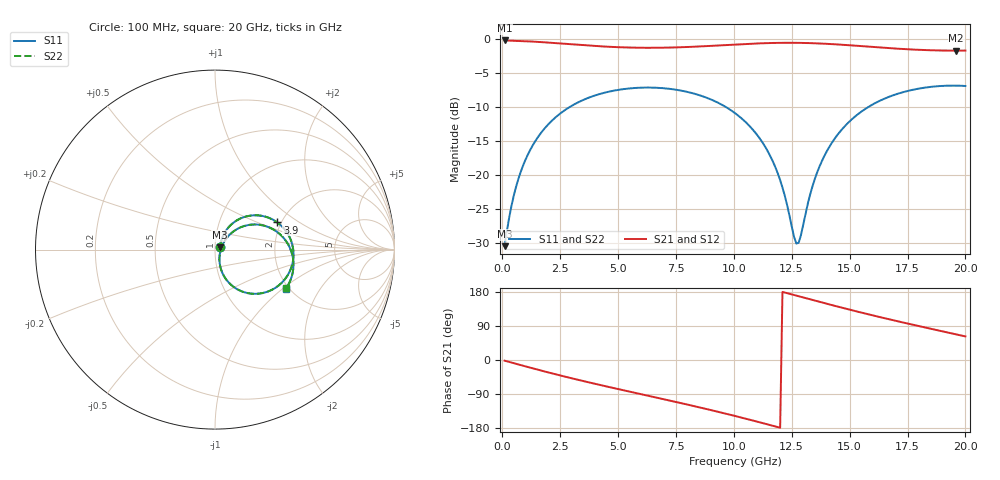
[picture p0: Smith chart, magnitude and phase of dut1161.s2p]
! Touchstone file exported from HFSS 2026.1.0
!  File:  C:/ffzhzh/LocalFiles/Ansys_Project_Files/temp_train_TSV_RDL_1161_1783312303_38704.aedt
!  Generated:  12:54:01 PM Jul  6, 2026
!  Design:  TSV_RDL
!  Project:  temp_train_TSV_RDL_1161_1783312303_38704
! Variables:
!  h_bsmrdl = 5.66um
!  h_ox = 20um
!  h_rdl = 5um
!  h_sub = 90.69um
!  h_tmrdl = 5.98um
!  h_tsv = 90.69um
!  h_via = 3um
!  l_bsmrdl = 669.54um
!  l_sub = 4921.56um
!  l_tmrdl = 595.85um
!  m_sub = 200um
!  pitch = 38.79um
!  r_tsv = 2.28um
!  s_tmrdl = 10um
!  w_bsmrdl = 15.52um
!  w_sub = 500um
!  w_tmrdl = 27.66um
!  x_tsv_center1 = 609.68um
!  x_tsv_center2 = 1294.74um
!  x_tsv_center3 = 1918.25um
!  x_tsv_center4 = 2603.31um
!  x_tsv_center5 = 3226.82um
!  x_tsv_center6 = 3911.88um
# GHz S MA R 50.000000
! Terminal data exported
! Port[1] = TM_RDL1_1_T1
! Port[2] = TM_RDL5_1_T1
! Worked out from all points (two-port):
!   200 points, 100 MHz to 20 GHz, reference 50 ohm
!   highest |S21| = -0.23 dB at 100 MHz (marker M1); lowest = -1.7 dB at 19.6 GHz (marker M2)
!   |S21| within 3 dB of the highest: start of sweep to end of sweep
!   lowest |S11| = -30.4 dB at 100 MHz (marker M3), VSWR 1.06, Z = 52.7 + j1.42 ohm
!   |S11| at or under -10 dB: start of sweep to 2.914 GHz; 9.651 GHz to 15.81 GHz (6.159 GHz wide, 48.4 % of centre)
!   |S22| runs from -30.4 to -6.9 dB; largest |S21 - S12| = 1.7e-14
!   S11 on the Smith chart (normalised r, x): 100 MHz: 1.05, +0.03; 3.9 GHz: 1.91, +0.67; 20 GHz: 1.93, -1.05
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0.1  0.03006 26.6  0.9734 -1.8  0.9734 -1.8  0.03006 26.6
! Gamma 0 0 0 0
! Port Impedance 50 0 50 0
0.6  0.08264 59.0  0.9677 -10.2  0.9677 -10.2  0.08264 59.0
1.2  0.1523 58.2  0.9578 -20.1  0.9578 -20.1  0.1523 58.2
2.2  0.2562 46.4  0.933 -36.1  0.933 -36.1  0.2562 46.4
3.5  0.3563 28.9  0.8979 -55.6  0.8979 -55.6  0.3563 28.9
3.9  0.3789 23.5  0.8885 -61.4  0.8885 -61.4  0.3789 23.5
5.4  0.4311 4.0  0.8643 -82.2  0.8643 -82.2  0.4311 4.0
6.8  0.4362 -13.8  0.8606 -101.2  0.8606 -101.2  0.4362 -13.8
8.5  0.3865 -35.7  0.8792 -124.8  0.8792 -124.8  0.3864 -35.7
10.1  0.2809 -56.7  0.9096 -148.5  0.9096 -148.5  0.2808 -56.7
11  0.1977 -67.5  0.9252 -162.5  0.9252 -162.5  0.1977 -67.5
11.7  0.1243 -72.9  0.9332 -173.8  0.9332 -173.8  0.1242 -72.9
12.1  0.08105 -71.1  0.9355 179.7  0.9355 179.7  0.08099 -71.2
12.7  0.03143 -21.8  0.9353 169.8  0.9353 169.8  0.0313 -21.8
12.9  0.03631 14.9  0.9342 166.5  0.9342 166.5  0.03621 15.0
13.4  0.08314 43.9  0.9294 158.3  0.9294 158.3  0.0831 44.0
14  0.1479 44.4  0.9199 148.6  0.9199 148.6  0.1479 44.5
14.7  0.2197 37.7  0.905 137.5  0.905 137.5  0.2196 37.8
16.7  0.3754 12.6  0.8552 107.5  0.8552 107.5  0.3754 12.6
18.2  0.4373 -6.4  0.8282 86.6  0.8282 86.6  0.4373 -6.4
19.6  0.4536 -23.8  0.8196 67.6  0.8196 67.6  0.4535 -23.8
20  0.4507 -28.8  0.8205 62.2  0.8205 62.2  0.4507 -28.7
